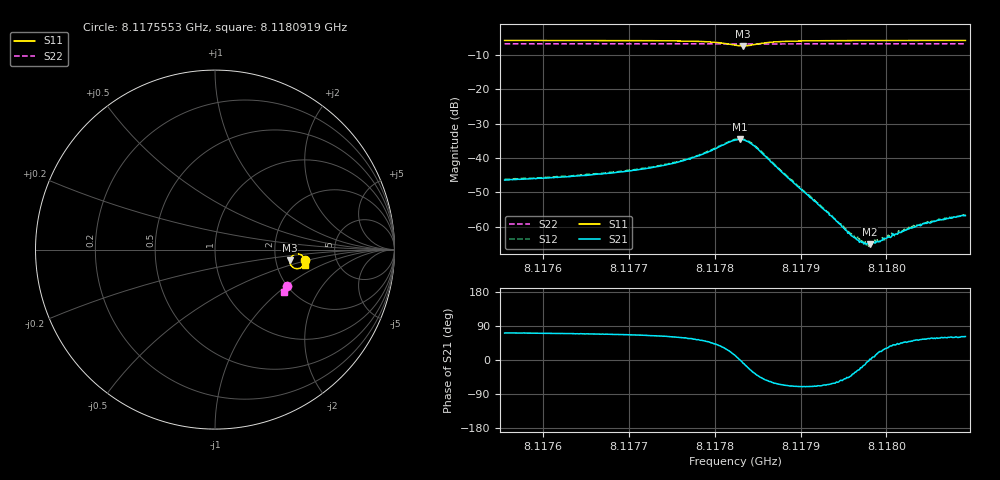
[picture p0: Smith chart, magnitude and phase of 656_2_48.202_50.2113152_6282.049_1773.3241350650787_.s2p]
#  HZ  S  RI  R  50.00
! Rohde & Schwarz Vector Network Analyzer
! Rohde-Schwarz,ZNB20-2Port,1311601062101988,3.16
! Created: UTC 3/20/2024, 12:05:32 PM
! freq[Hz]  re:S11  im:S11  re:S21  im:S21  re:S12  im:S12  re:S22  im:S22
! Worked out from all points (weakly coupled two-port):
!   401 points, 8.1175553 GHz to 8.1180919 GHz, reference 50 ohm
!   highest |S21| = -34.60 dB at 8.117829 GHz (marker M1); lowest = -65.0 dB at 8.1179806 GHz (marker M2)
!   lowest |S11| = -7.5 dB at 8.117833 GHz (marker M3), VSWR 2.46, Z = 120 - j17.3 ohm
!   |S11| at or under -10 dB: nowhere
!   |S22| runs from -6.9 to -6.9 dB; largest |S21 - S12| = 0.00059
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8.11755532e9  0.5033 -0.0595  0.00155 0.00452  0.00156 0.00466  0.4037 -0.2049
8.1176452e9  0.5011 -0.0698  0.00195 0.0052  0.00204 0.00531  0.4009 -0.2108
8.11769886e9  0.4984 -0.0776  0.00256 0.00591  0.00267 0.00605  0.3992 -0.2142
8.11773509e9  0.4948 -0.0848  0.0034 0.00677  0.00352 0.00688  0.3978 -0.2167
8.11777936e9  0.4823 -0.0986  0.00634 0.00847  0.00638 0.00863  0.3959 -0.2199
8.11782363e9  0.4238 -0.088  0.0177 0.00385  0.0182 0.00389  0.3925 -0.2213
8.117829e9  0.4175 -0.0727  0.0186 0.000271  0.019 0.000366  0.392 -0.2209
8.11783302e9  0.4172 -0.0592  0.0182 -0.00266  0.0186 -0.00253  0.3918 -0.2205
8.11784644e9  0.4411 -0.0273  0.0122 -0.0085  0.0125 -0.0087  0.3931 -0.2202
8.11787193e9  0.4833 -0.0322  0.00346 -0.00661  0.0035 -0.00671  0.394 -0.2224
8.11791352e9  0.4981 -0.0528  0.000891 -0.00239  0.000884 -0.00246  0.3931 -0.2259
8.11795779e9  0.5004 -0.0646  0.000567 -0.000533  0.000598 -0.000533  0.3915 -0.2291
8.1179712e9  0.5007 -0.0672  0.000558 -0.000207  0.000598 -0.000193  0.3911 -0.23
8.11797657e9  0.5007 -0.0681  0.00056 -6.73e-05  0.000539 -9.2e-05  0.391 -0.2303
8.11798059e9  0.5008 -0.0688  0.00056 2.15e-05  0.000597 -1.43e-05  0.3909 -0.2307
8.11798596e9  0.5007 -0.0697  0.00058 8.32e-05  0.000646 0.000159  0.3907 -0.2311
8.11799938e9  0.5006 -0.0718  0.000583 0.000345  0.000566 0.000382  0.3903 -0.2319
8.1180034e9  0.5006 -0.0723  0.000579 0.000414  0.000591 0.000417  0.3901 -0.2321
8.11801011e9  0.5005 -0.0733  0.000605 0.0005  0.000589 0.000444  0.3899 -0.2324
8.11802889e9  0.5004 -0.0758  0.000623 0.000733  0.000664 0.000742  0.3892 -0.2337
8.11804499e9  0.5003 -0.0779  0.000643 0.000927  0.000653 0.000936  0.3887 -0.2348
8.11809194e9  0.4999 -0.0832  0.000685 0.00128  0.000762 0.0013  0.3871 -0.2377
